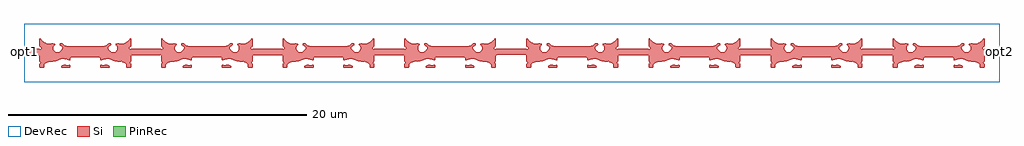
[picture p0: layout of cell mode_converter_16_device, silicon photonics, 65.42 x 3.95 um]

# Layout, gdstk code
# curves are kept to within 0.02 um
import gdstk
lib = gdstk.Library(unit=1e-6, precision=1e-09)
def R(c, l, rs):  # rectangles x0, y0, x1, y1
    for r in rs: c.add(gdstk.rectangle(r[:2], r[2:], *l))
def P(c, l, *ps):  # polygons
    for p in ps: c.add(gdstk.Polygon(p, *l))
Si = (1, 0)
PinRec = (1, 10)
DevRec = (68, 0)

mode_converter_16_device = lib.new_cell('mode_converter_16_device')
P(mode_converter_16_device, Si, [(2.512,0),(2.482,0.015),(2.48,0.087),(2.511,0.119),(2.638,0.17),(2.964,0.15),(3.063,0.175),(3.1,0.138),(3.1,0.037),(3.063,0)],
  [(5.137,0),(5.1,0.037),(5.1,0.138),(5.137,0.175),(5.236,0.15),(5.538,0.175),(5.689,0.119),(5.725,0.063),(5.718,0.015),(5.688,0)],
  [(10.662,0),(10.632,0.015),(10.63,0.087),(10.661,0.119),(10.788,0.17),(11.114,0.15),(11.213,0.175),(11.25,0.138),(11.25,0.037),(11.213,0)],
  [(13.287,0),(13.25,0.037),(13.25,0.138),(13.287,0.175),(13.386,0.15),(13.688,0.175),(13.839,0.119),(13.875,0.063),(13.868,0.015),(13.838,0)],
  [(18.812,0),(18.782,0.015),(18.78,0.087),(18.811,0.119),(18.938,0.17),(19.264,0.15),(19.363,0.175),(19.4,0.138),(19.4,0.037),(19.363,0)],
  [(21.437,0),(21.4,0.037),(21.4,0.138),(21.437,0.175),(21.536,0.15),(21.838,0.175),(21.989,0.119),(22.025,0.063),(22.018,0.015),(21.988,0)],
  [(26.962,0),(26.932,0.015),(26.93,0.087),(26.961,0.119),(27.088,0.17),(27.414,0.15),(27.513,0.175),(27.55,0.138),(27.55,0.037),(27.513,0)],
  [(29.587,0),(29.55,0.037),(29.55,0.138),(29.587,0.175),(29.686,0.15),(29.988,0.175),(30.139,0.119),(30.175,0.063),(30.168,0.015),(30.138,0)],
  [(35.152,0),(35.122,0.015),(35.12,0.087),(35.151,0.119),(35.278,0.17),(35.604,0.15),(35.703,0.175),(35.74,0.138),(35.74,0.037),(35.703,0)],
  [(37.777,0),(37.74,0.037),(37.74,0.138),(37.777,0.175),(37.876,0.15),(38.178,0.175),(38.329,0.119),(38.365,0.063),(38.358,0.015),(38.328,0)],
  [(43.342,0),(43.312,0.015),(43.31,0.087),(43.341,0.119),(43.468,0.17),(43.794,0.15),(43.893,0.175),(43.93,0.138),(43.93,0.037),(43.893,0)],
  [(45.967,0),(45.93,0.037),(45.93,0.138),(45.967,0.175),(46.066,0.15),(46.368,0.175),(46.519,0.119),(46.555,0.063),(46.548,0.015),(46.518,0)],
  [(51.522,0),(51.492,0.015),(51.49,0.087),(51.521,0.119),(51.648,0.17),(51.974,0.15),(52.073,0.175),(52.11,0.138),(52.11,0.037),(52.073,0)],
  [(54.147,0),(54.11,0.037),(54.11,0.138),(54.147,0.175),(54.246,0.15),(54.548,0.175),(54.699,0.119),(54.735,0.063),(54.728,0.015),(54.698,0)],
  [(59.712,0),(59.682,0.015),(59.68,0.087),(59.711,0.119),(59.838,0.17),(60.164,0.15),(60.263,0.175),(60.3,0.138),(60.3,0.037),(60.263,0)],
  [(62.337,0),(62.3,0.037),(62.3,0.138),(62.337,0.175),(62.436,0.15),(62.738,0.175),(62.889,0.119),(62.925,0.063),(62.918,0.015),(62.888,0)],
  [(1.062,0),(1.025,0.037),(1.025,0.213),(1.094,0.286),(1.1,0.338),(1.026,0.434),(1.018,0.821),(0,0.825),(0,1.275),(0.988,1.275),(1.045,1.23),(1.112,1.23),(1.145,1.263),(1.144,1.339),(1.025,1.462),(1.025,1.913),(1.085,1.947),(1.28,1.735),(1.512,1.605),(1.814,1.6),(1.888,1.625),(2.045,1.589),(2.069,1.531),(1.955,1.388),(1.95,1.236),(2.033,1.088),(2.136,1.025),(2.341,1.032),(2.467,1.128),(2.545,1.237),(2.569,1.364),(2.38,1.513),(2.38,1.587),(2.437,1.625),(2.537,1.62),(2.684,1.482),(2.861,1.425),(5.339,1.425),(5.516,1.482),(5.663,1.62),(5.763,1.625),(5.82,1.587),(5.82,1.513),(5.631,1.364),(5.655,1.237),(5.733,1.128),(5.859,1.032),(6.064,1.025),(6.167,1.088),(6.25,1.236),(6.245,1.388),(6.131,1.531),(6.155,1.589),(6.312,1.625),(6.386,1.6),(6.688,1.605),(6.92,1.735),(7.115,1.947),(7.175,1.913),(7.175,1.462),(7.056,1.339),(7.055,1.263),(7.088,1.23),(7.155,1.23),(7.212,1.275),(9.138,1.275),(9.195,1.23),(9.262,1.23),(9.295,1.263),(9.294,1.339),(9.175,1.462),(9.175,1.913),(9.235,1.947),(9.43,1.735),(9.662,1.605),(9.964,1.6),(10.038,1.625),(10.195,1.589),(10.219,1.531),(10.105,1.388),(10.1,1.236),(10.183,1.088),(10.286,1.025),(10.491,1.032),(10.617,1.128),(10.695,1.237),(10.719,1.364),(10.53,1.513),(10.53,1.587),(10.587,1.625),(10.687,1.62),(10.834,1.482),(11.011,1.425),(13.489,1.425),(13.666,1.482),(13.813,1.62),(13.913,1.625),(13.97,1.587),(13.97,1.513),(13.781,1.364),(13.805,1.237),(13.883,1.128),(14.009,1.032),(14.214,1.025),(14.317,1.088),(14.4,1.236),(14.395,1.388),(14.281,1.531),(14.305,1.589),(14.462,1.625),(14.536,1.6),(14.838,1.605),(15.07,1.735),(15.265,1.947),(15.325,1.913),(15.325,1.462),(15.206,1.339),(15.205,1.263),(15.238,1.23),(15.305,1.23),(15.362,1.275),(17.288,1.275),(17.345,1.23),(17.412,1.23),(17.445,1.263),(17.444,1.339),(17.325,1.462),(17.325,1.913),(17.385,1.947),(17.58,1.735),(17.812,1.605),(18.114,1.6),(18.188,1.625),(18.345,1.589),(18.369,1.531),(18.255,1.388),(18.25,1.236),(18.333,1.088),(18.436,1.025),(18.641,1.032),(18.767,1.128),(18.845,1.237),(18.869,1.364),(18.68,1.513),(18.68,1.587),(18.737,1.625),(18.837,1.62),(18.984,1.482),(19.161,1.425),(21.639,1.425),(21.816,1.482),(21.963,1.62),(22.063,1.625),(22.12,1.587),(22.12,1.513),(21.931,1.364),(21.955,1.237),(22.033,1.128),(22.159,1.032),(22.364,1.025),(22.467,1.088),(22.55,1.236),(22.545,1.388),(22.431,1.531),(22.455,1.589),(22.612,1.625),(22.686,1.6),(22.988,1.605),(23.22,1.735),(23.415,1.947),(23.475,1.913),(23.475,1.462),(23.356,1.339),(23.355,1.263),(23.388,1.23),(23.455,1.23),(23.512,1.275),(25.438,1.275),(25.495,1.23),(25.562,1.23),(25.595,1.263),(25.594,1.339),(25.475,1.462),(25.475,1.913),(25.535,1.947),(25.73,1.735),(25.962,1.605),(26.264,1.6),(26.338,1.625),(26.495,1.589),(26.519,1.531),(26.405,1.388),(26.4,1.236),(26.483,1.088),(26.586,1.025),(26.791,1.032),(26.917,1.128),(26.995,1.237),(27.019,1.364),(26.83,1.513),(26.83,1.587),(26.887,1.625),(26.987,1.62),(27.134,1.482),(27.311,1.425),(29.789,1.425),(29.966,1.482),(30.113,1.62),(30.213,1.625),(30.27,1.587),(30.27,1.513),(30.081,1.364),(30.105,1.237),(30.183,1.128),(30.309,1.032),(30.514,1.025),(30.617,1.088),(30.7,1.236),(30.695,1.388),(30.581,1.531),(30.605,1.589),(30.762,1.625),(30.836,1.6),(31.138,1.605),(31.37,1.735),(31.565,1.947),(31.625,1.913),(31.625,1.462),(31.506,1.339),(31.505,1.263),(31.538,1.23),(31.605,1.23),(31.662,1.275),(33.628,1.275),(33.685,1.23),(33.752,1.23),(33.785,1.263),(33.784,1.339),(33.665,1.462),(33.665,1.913),(33.725,1.947),(33.92,1.735),(34.152,1.605),(34.454,1.6),(34.528,1.625),(34.685,1.589),(34.709,1.531),(34.595,1.388),(34.59,1.236),(34.673,1.088),(34.776,1.025),(34.981,1.032),(35.107,1.128),(35.185,1.237),(35.209,1.364),(35.02,1.513),(35.02,1.587),(35.077,1.625),(35.177,1.62),(35.324,1.482),(35.501,1.425),(37.979,1.425),(38.156,1.482),(38.303,1.62),(38.403,1.625),(38.46,1.587),(38.46,1.513),(38.271,1.364),(38.295,1.237),(38.373,1.128),(38.499,1.032),(38.704,1.025),(38.807,1.088),(38.89,1.236),(38.885,1.388),(38.771,1.531),(38.795,1.589),(38.952,1.625),(39.026,1.6),(39.328,1.605),(39.56,1.735),(39.755,1.947),(39.815,1.913),(39.815,1.462),(39.696,1.339),(39.695,1.263),(39.728,1.23),(39.795,1.23),(39.852,1.275),(41.818,1.275),(41.875,1.23),(41.942,1.23),(41.975,1.263),(41.974,1.339),(41.855,1.462),(41.855,1.913),(41.915,1.947),(42.11,1.735),(42.342,1.605),(42.644,1.6),(42.718,1.625),(42.875,1.589),(42.899,1.531),(42.785,1.388),(42.78,1.236),(42.863,1.088),(42.966,1.025),(43.171,1.032),(43.297,1.128),(43.375,1.237),(43.399,1.364),(43.21,1.513),(43.21,1.587),(43.267,1.625),(43.367,1.62),(43.514,1.482),(43.691,1.425),(46.169,1.425),(46.346,1.482),(46.493,1.62),(46.593,1.625),(46.65,1.587),(46.65,1.513),(46.461,1.364),(46.485,1.237),(46.563,1.128),(46.689,1.032),(46.894,1.025),(46.997,1.088),(47.08,1.236),(47.075,1.388),(46.961,1.531),(46.985,1.589),(47.142,1.625),(47.216,1.6),(47.518,1.605),(47.75,1.735),(47.945,1.947),(48.005,1.913),(48.005,1.462),(47.886,1.339),(47.885,1.263),(47.918,1.23),(47.985,1.23),(48.042,1.275),(49.998,1.275),(50.055,1.23),(50.122,1.23),(50.155,1.263),(50.154,1.339),(50.035,1.462),(50.035,1.913),(50.095,1.947),(50.29,1.735),(50.522,1.605),(50.824,1.6),(50.898,1.625),(51.055,1.589),(51.079,1.531),(50.965,1.388),(50.96,1.236),(51.043,1.088),(51.146,1.025),(51.351,1.032),(51.477,1.128),(51.555,1.237),(51.579,1.364),(51.39,1.513),(51.39,1.587),(51.447,1.625),(51.547,1.62),(51.694,1.482),(51.871,1.425),(54.349,1.425),(54.526,1.482),(54.673,1.62),(54.773,1.625),(54.83,1.587),(54.83,1.513),(54.641,1.364),(54.665,1.237),(54.743,1.128),(54.869,1.032),(55.074,1.025),(55.177,1.088),(55.26,1.236),(55.255,1.388),(55.141,1.531),(55.165,1.589),(55.322,1.625),(55.396,1.6),(55.698,1.605),(55.93,1.735),(56.125,1.947),(56.185,1.913),(56.185,1.462),(56.064,1.333),(56.065,1.263),(56.121,1.225),(56.222,1.275),(58.188,1.275),(58.245,1.23),(58.312,1.23),(58.345,1.263),(58.344,1.339),(58.225,1.462),(58.225,1.913),(58.285,1.947),(58.48,1.735),(58.712,1.605),(59.014,1.6),(59.088,1.625),(59.245,1.589),(59.269,1.531),(59.155,1.388),(59.15,1.236),(59.233,1.088),(59.336,1.025),(59.541,1.032),(59.667,1.128),(59.745,1.237),(59.769,1.364),(59.58,1.513),(59.58,1.587),(59.637,1.625),(59.737,1.62),(59.884,1.482),(60.061,1.425),(62.539,1.425),(62.716,1.482),(62.863,1.62),(62.963,1.625),(63.02,1.587),(63.02,1.513),(62.831,1.364),(62.855,1.237),(62.933,1.128),(63.059,1.032),(63.264,1.025),(63.367,1.088),(63.45,1.236),(63.445,1.388),(63.331,1.531),(63.355,1.589),(63.512,1.625),(63.586,1.6),(63.888,1.605),(64.12,1.735),(64.315,1.947),(64.375,1.913),(64.375,1.462),(64.256,1.339),(64.255,1.263),(64.288,1.23),(64.355,1.23),(64.412,1.275),(65.4,1.275),(65.4,0.825),(64.382,0.821),(64.374,0.434),(64.3,0.338),(64.306,0.286),(64.375,0.213),(64.375,0.037),(64.338,0),(64.062,0.009),(64.04,0.22),(63.937,0.32),(63.787,0.37),(63.288,0.43),(62.914,0.575),(62.686,0.575),(62.337,0.5),(62.301,0.535),(62.292,0.663),(62.263,0.675),(60.337,0.675),(60.308,0.663),(60.299,0.535),(60.263,0.5),(59.914,0.575),(59.686,0.575),(59.312,0.43),(58.936,0.4),(58.663,0.32),(58.555,0.212),(58.538,0.009),(58.262,0),(58.225,0.037),(58.225,0.213),(58.294,0.286),(58.3,0.338),(58.226,0.434),(58.209,0.829),(56.201,0.829),(56.184,0.434),(56.11,0.338),(56.116,0.286),(56.185,0.213),(56.185,0.037),(56.148,0),(55.872,0.009),(55.85,0.22),(55.747,0.32),(55.597,0.37),(55.098,0.43),(54.724,0.575),(54.496,0.575),(54.147,0.5),(54.111,0.535),(54.102,0.663),(54.073,0.675),(52.147,0.675),(52.118,0.663),(52.109,0.535),(52.073,0.5),(51.724,0.575),(51.496,0.575),(51.122,0.43),(50.746,0.4),(50.473,0.32),(50.365,0.212),(50.348,0.009),(50.072,0),(50.035,0.037),(50.035,0.213),(50.104,0.286),(50.11,0.338),(50.036,0.434),(50.019,0.829),(48.021,0.829),(48.004,0.434),(47.93,0.338),(47.936,0.286),(48.005,0.213),(48.005,0.037),(47.968,0),(47.692,0.009),(47.67,0.22),(47.567,0.32),(47.417,0.37),(46.918,0.43),(46.544,0.575),(46.316,0.575),(45.967,0.5),(45.931,0.535),(45.922,0.663),(45.893,0.675),(43.967,0.675),(43.938,0.663),(43.929,0.535),(43.893,0.5),(43.544,0.575),(43.316,0.575),(42.942,0.43),(42.566,0.4),(42.293,0.32),(42.185,0.212),(42.168,0.009),(41.892,0),(41.855,0.037),(41.855,0.213),(41.924,0.286),(41.93,0.338),(41.856,0.434),(41.839,0.829),(39.831,0.829),(39.814,0.434),(39.74,0.338),(39.746,0.286),(39.815,0.213),(39.815,0.037),(39.778,0),(39.502,0.009),(39.48,0.22),(39.377,0.32),(39.227,0.37),(38.728,0.43),(38.354,0.575),(38.126,0.575),(37.777,0.5),(37.741,0.535),(37.732,0.663),(37.703,0.675),(35.777,0.675),(35.748,0.663),(35.739,0.535),(35.703,0.5),(35.354,0.575),(35.126,0.575),(34.752,0.43),(34.376,0.4),(34.103,0.32),(33.995,0.212),(33.978,0.009),(33.702,0),(33.665,0.037),(33.665,0.213),(33.734,0.286),(33.74,0.338),(33.666,0.434),(33.649,0.829),(31.641,0.829),(31.624,0.434),(31.55,0.338),(31.556,0.286),(31.625,0.213),(31.625,0.037),(31.588,0),(31.312,0.009),(31.29,0.22),(31.187,0.32),(31.037,0.37),(30.538,0.43),(30.164,0.575),(29.936,0.575),(29.587,0.5),(29.551,0.535),(29.542,0.663),(29.513,0.675),(27.587,0.675),(27.558,0.663),(27.549,0.535),(27.513,0.5),(27.164,0.575),(26.936,0.575),(26.562,0.43),(26.186,0.4),(25.913,0.32),(25.805,0.212),(25.788,0.009),(25.512,0),(25.475,0.037),(25.475,0.213),(25.544,0.286),(25.55,0.338),(25.476,0.434),(25.459,0.829),(23.491,0.829),(23.474,0.434),(23.4,0.338),(23.406,0.286),(23.475,0.213),(23.475,0.037),(23.438,0),(23.162,0.009),(23.14,0.22),(23.037,0.32),(22.887,0.37),(22.388,0.43),(22.014,0.575),(21.786,0.575),(21.437,0.5),(21.401,0.535),(21.392,0.663),(21.363,0.675),(19.437,0.675),(19.408,0.663),(19.399,0.535),(19.363,0.5),(19.014,0.575),(18.786,0.575),(18.412,0.43),(18.036,0.4),(17.763,0.32),(17.655,0.212),(17.638,0.009),(17.362,0),(17.325,0.037),(17.325,0.213),(17.394,0.286),(17.4,0.338),(17.326,0.434),(17.309,0.829),(15.341,0.829),(15.324,0.434),(15.25,0.338),(15.256,0.286),(15.325,0.213),(15.325,0.037),(15.288,0),(15.012,0.009),(14.99,0.22),(14.887,0.32),(14.737,0.37),(14.238,0.43),(13.864,0.575),(13.636,0.575),(13.287,0.5),(13.251,0.535),(13.242,0.663),(13.213,0.675),(11.287,0.675),(11.258,0.663),(11.249,0.535),(11.213,0.5),(10.864,0.575),(10.636,0.575),(10.262,0.43),(9.886,0.4),(9.613,0.32),(9.505,0.212),(9.488,0.009),(9.212,0),(9.175,0.037),(9.175,0.213),(9.244,0.286),(9.25,0.338),(9.176,0.434),(9.159,0.829),(7.191,0.829),(7.174,0.434),(7.1,0.338),(7.106,0.286),(7.175,0.213),(7.175,0.037),(7.138,0),(6.862,0.009),(6.84,0.22),(6.737,0.32),(6.587,0.37),(6.088,0.43),(5.714,0.575),(5.486,0.575),(5.137,0.5),(5.101,0.535),(5.092,0.663),(5.063,0.675),(3.137,0.675),(3.108,0.663),(3.099,0.535),(3.063,0.5),(2.714,0.575),(2.486,0.575),(2.112,0.43),(1.736,0.4),(1.463,0.32),(1.355,0.212),(1.338,0.009)])
R(mode_converter_16_device, DevRec, [(0,-1,65.4,2.947)])
mode_converter_16_device.add(gdstk.FlexPath([(0.01,1.05),(-0.01,1.05)], 0.45, ends="flush", simple_path=True, layer=1, datatype=10))  # PinRec
mode_converter_16_device.add(gdstk.FlexPath([(65.39,1.05),(65.41,1.05)], 0.45, ends="flush", simple_path=True, layer=1, datatype=10))  # PinRec
mode_converter_16_device.add(gdstk.Label('opt1', (0,1.05), layer=1, texttype=10))
mode_converter_16_device.add(gdstk.Label('opt2', (65.4,1.05), layer=1, texttype=10))

lib.write_gds('mode_converter_16_device.gds')
